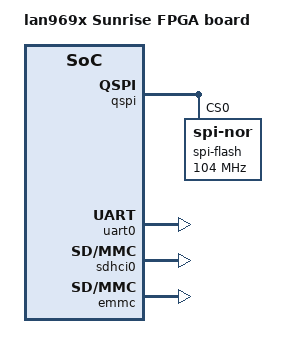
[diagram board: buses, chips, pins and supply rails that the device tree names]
/dts-v1/;

#include "lan969x_sr.dtsi"
#include "lan969x.dtsi"

/ {
	model = "lan969x Sunrise FPGA board";
	config {
		u-boot,mmc-env-partition = "Env";
	};
};

&qspi {
	compatible = "microchip,sunrise-qspi";
};

&uart0 {
	status = "okay";
	pinctrl-0 = <&fc0_pins>;
	pinctrl-names = "default";
};

&sdhci0 {
	status = "okay";
};

&emmc {
	status = "okay";
	pinctrl-0 = <&emmc_sd_pins>;
	pinctrl-names = "default";
	max-frequency = <24000000>;	/* Sunrise limitation */
};

&qspi {
	status = "okay";
	spi-flash@0 {
		status = "okay";
		compatible = "jedec,spi-nor";
		reg = <0>;
		spi-max-frequency = <104000000>;
	};
};
